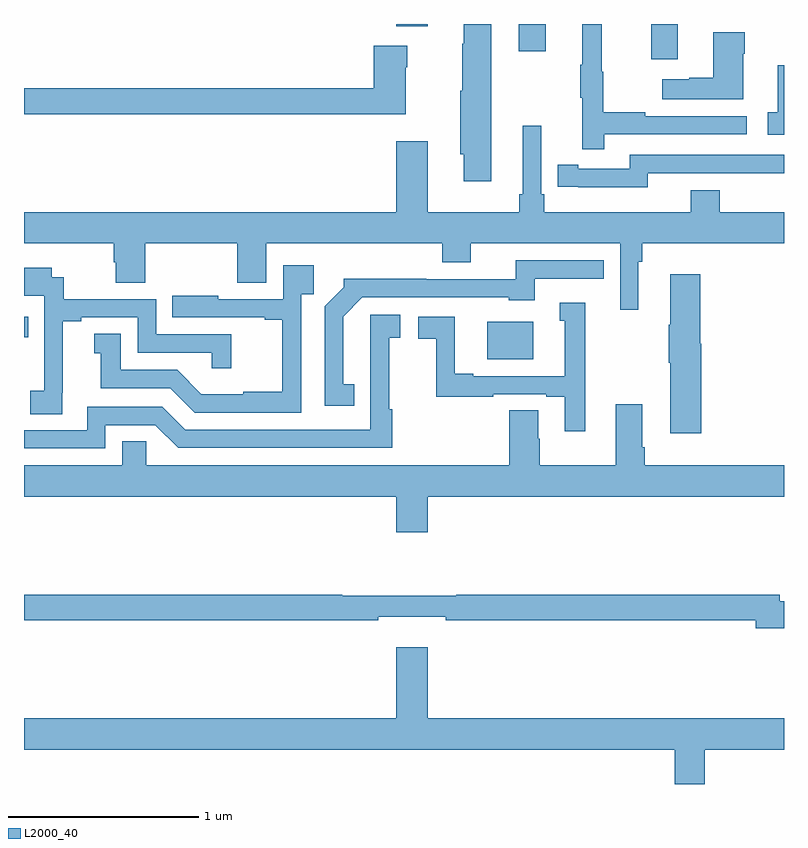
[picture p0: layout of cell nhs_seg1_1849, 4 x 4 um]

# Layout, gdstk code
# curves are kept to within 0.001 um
import gdstk
lib = gdstk.Library(unit=1e-6, precision=1e-09)
def R(c, l, rs):  # rectangles x0, y0, x1, y1
    for r in rs: c.add(gdstk.rectangle(r[:2], r[2:], *l))
def P(c, l, *ps):  # polygons
    for p in ps: c.add(gdstk.Polygon(p, *l))
L2000_40 = (2000, 40)

nhs_seg1_1849 = lib.new_cell('nhs_seg1_1849')
R(nhs_seg1_1849, L2000_40, [(213.437,572.435,213.679,572.632), (211,572.55,211.022,572.658), (214.301,574.014,214.441,574.199), (213.605,574.056,213.745,574.199), (212.96,574.188,213.124,574.199)])
P(nhs_seg1_1849, L2000_40, [(213.46,574.199),(213.314,574.199),(213.314,574.094),(213.307,574.094),(213.307,573.849),(213.296,573.849),(213.296,573.513),(213.314,573.513),(213.314,573.372),(213.46,573.372)],
  [(214.055,573.618),(214.804,573.618),(214.804,573.714),(214.271,573.714),(214.271,573.734),(214.048,573.734),(214.048,573.948),(214.04,573.948),(214.04,574.198),(213.938,574.198),(213.938,573.985),(213.927,573.985),(213.927,573.811),(213.938,573.811),(213.938,573.54),(214.055,573.54)],
  [(214.786,574.043),(214.794,574.043),(214.794,574.156),(214.628,574.156),(214.628,573.917),(214.502,573.917),(214.502,573.907),(214.359,573.907),(214.359,573.803),(214.786,573.803)],
  [(213.01,573.971),(213.018,573.971),(213.018,574.084),(212.84,574.084),(212.84,573.86),(211,573.86),(211,573.724),(213.01,573.724)],
  [(215,573.982),(214.967,573.982),(214.967,573.735),(214.914,573.735),(214.914,573.615),(215,573.615)],
  [(214.234,572.948),(214.253,572.948),(214.253,573.044),(215,573.044),(215,573.208),(214.661,573.208),(214.661,573.325),(214.508,573.325),(214.508,573.208),(213.737,573.208),(213.737,573.304),(213.723,573.304),(213.723,573.664),(213.626,573.664),(213.626,573.304),(213.607,573.304),(213.607,573.208),(213.124,573.208),(213.124,573.583),(212.96,573.583),(212.96,573.208),(211,573.208),(211,573.044),(211.472,573.044),(211.472,572.946),(211.484,572.946),(211.484,572.836),(211.637,572.836),(211.637,573.044),(212.123,573.044),(212.123,572.836),(212.275,572.836),(212.275,573.044),(213.2,573.044),(213.2,572.945),(213.352,572.945),(213.352,573.044),(214.137,573.044),(214.137,572.694),(214.234,572.694)],
  [(214.284,573.414),(214.744,573.414),(214.744,573.413),(215,573.413),(215,573.51),(214.188,573.51),(214.188,573.438),(213.916,573.438),(213.916,573.458),(213.808,573.458),(213.808,573.342),(213.916,573.342),(213.916,573.341),(214.284,573.341)],
  [(212.738,572.303),(212.68,572.303),(212.68,572.659),(212.781,572.76),(213.552,572.76),(213.552,572.744),(213.688,572.744),(213.688,572.859),(214.052,572.859),(214.052,572.955),(213.589,572.955),(213.589,572.856),(213.116,572.856),(213.116,572.858),(212.682,572.858),(212.682,572.813),(212.583,572.714),(212.583,572.19),(212.738,572.19)],
  [(212.46,572.777),(212.525,572.777),(212.525,572.929),(212.364,572.929),(212.364,572.751),(212.023,572.751),(212.023,572.77),(211.78,572.77),(211.78,572.655),(212.267,572.655),(212.267,572.643),(212.359,572.643),(212.359,572.263),(212.153,572.263),(212.153,572.251),(211.934,572.251),(211.806,572.379),(211.51,572.379),(211.51,572.57),(211.37,572.57),(211.37,572.467),(211.403,572.467),(211.403,572.283),(211.77,572.283),(211.899,572.154),(212.46,572.154)],
  [(211.202,572.257),(211.204,572.257),(211.204,572.635),(211.3,572.635),(211.3,572.655),(211.599,572.655),(211.599,572.469),(211.989,572.469),(211.989,572.388),(212.09,572.388),(212.09,572.565),(211.695,572.565),(211.695,572.751),(211.208,572.751),(211.208,572.865),(211.146,572.865),(211.146,572.917),(211,572.917),(211,572.769),(211.107,572.769),(211.107,572.465),(211.106,572.465),(211.106,572.268),(211.032,572.268),(211.032,572.146),(211.202,572.146)],
  [(214.564,572.517),(214.559,572.517),(214.559,572.881),(214.4,572.881),(214.4,572.617),(214.393,572.617),(214.393,572.417),(214.4,572.417),(214.4,572.046),(214.564,572.046)],
  [(213.955,572.731),(213.821,572.731),(213.821,572.637),(213.845,572.637),(213.845,572.346),(213.364,572.346),(213.364,572.359),(213.268,572.359),(213.268,572.658),(213.075,572.658),(213.075,572.542),(213.169,572.542),(213.169,572.238),(213.47,572.238),(213.47,572.25),(213.749,572.25),(213.749,572.238),(213.845,572.238),(213.845,572.055),(213.955,572.055)],
  [(211.428,572.088),(211.692,572.088),(211.812,571.968),(212.939,571.968),(212.939,572.171),(212.922,572.171),(212.922,572.547),(212.98,572.547),(212.98,572.668),(212.822,572.668),(212.823,572.064),(211.848,572.064),(211.728,572.184),(211.332,572.184),(211.332,572.061),(211,572.061),(211,571.965),(211.428,571.965)],
  [(213.124,571.712),(215,571.712),(215,571.876),(214.268,571.876),(214.268,571.972),(214.255,571.972),(214.255,572.197),(214.115,572.197),(214.115,571.876),(213.714,571.876),(213.714,572.015),(213.706,572.015),(213.706,572.165),(213.554,572.165),(213.554,571.876),(211.644,571.876),(211.644,572.003),(211.517,572.003),(211.517,571.876),(211,571.876),(211,571.712),(212.96,571.712),(212.96,571.524),(213.124,571.524)],
  [(215,571.16),(214.978,571.16),(214.978,571.196),(213.274,571.196),(213.274,571.189),(212.674,571.189),(212.674,571.196),(211,571.196),(211,571.06),(212.864,571.06),(212.864,571.079),(213.22,571.079),(213.22,571.06),(214.85,571.06),(214.85,571.018),(215,571.018)],
  [(214.584,570.38),(215,570.38),(215,570.544),(213.124,570.544),(213.124,570.919),(212.96,570.919),(212.96,570.544),(211,570.544),(211,570.38),(214.424,570.38),(214.424,570.199),(214.584,570.199)])

lib.write_gds('nhs_seg1_1849.gds')
